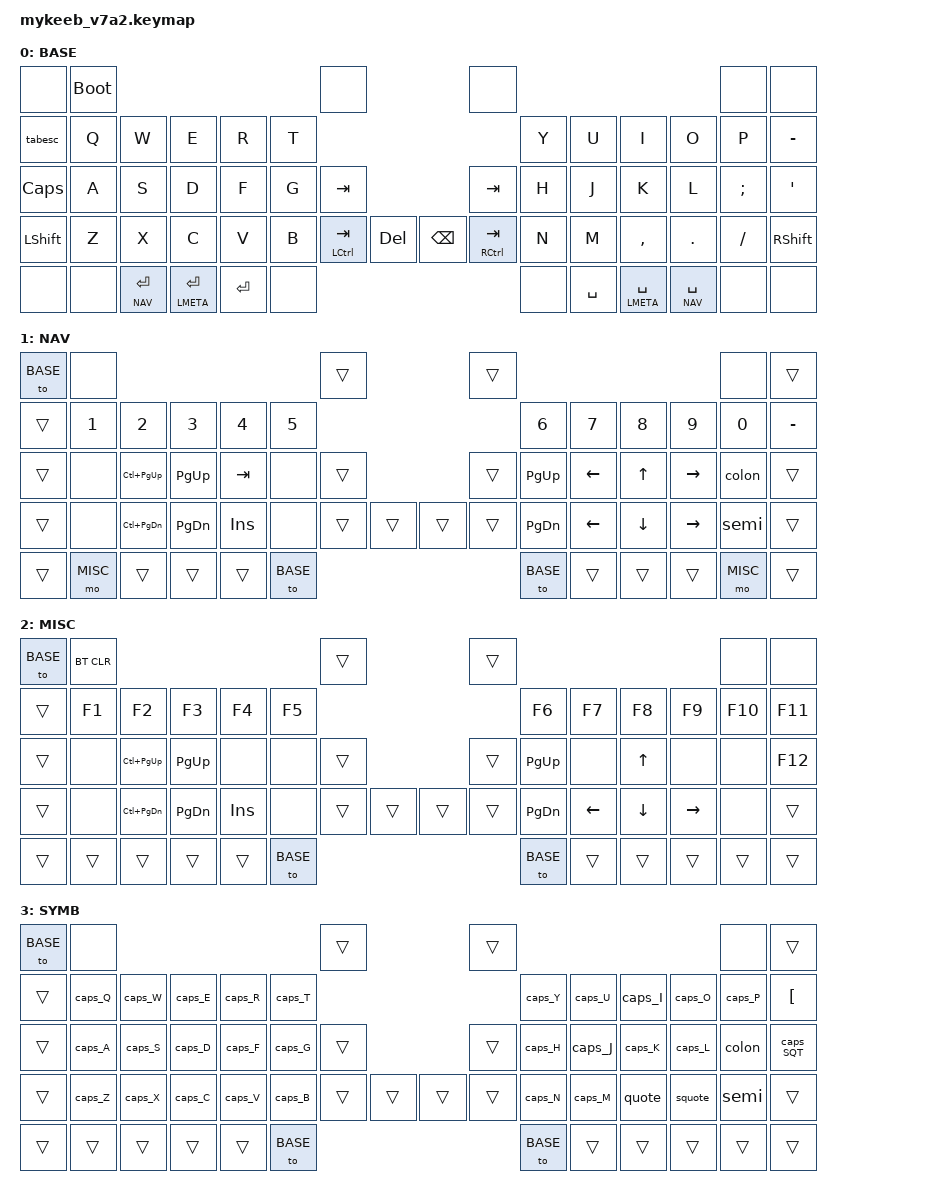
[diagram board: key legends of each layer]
#include <behaviors.dtsi>
#include <dt-bindings/zmk/keys.h>
#include <dt-bindings/zmk/bt.h>
#include <dt-bindings/zmk/outputs.h>


//┏━━━━━━━━━━━━━━━━━━━━━━━━━━━━━━━━━━━━━━━━━━━━━━━━━━━━━━━━━━━━━━━━━━━━━━━━━━━━━━┓
//┃    this is expecting NEO 2.0 layout to be configured                         ┃
//┃    - it has some 7th row keys, to allow for y and ß                          ┃
//┃    - especially the macros for special characters use caps as an modifier    ┃
//┗━━━━━━━━━━━━━━━━━━━━━━━━━━━━━━━━━━━━━━━━━━━━━━━━━━━━━━━━━━━━━━━━━━━━━━━━━━━━━━┛


//┏━━━━━━━━━━━━━━━━━━━━━━━━━━━━━━━━━━━━━━━━━━━━━━━━━━━━━━━━━━━━━━━━━━━━━━━━━━━━━━┓
//┃    defines and macros                                                        ┃
#define PTAB LC(PG_UP)
#define NTAB LC(PG_DN)

// Macro to apply momentary-layer-on-hold/toggle-layer-on-tap to a specific layer
#define MO_TOG(layer) &mo_tog layer layer

#define CAPS_MACRO(name,key) \
    name: name { \
            label = ZMK_MACRO_STRINGIFY(ZM_ ## name); \
            compatible = "zmk,behavior-macro"; \
            #binding-cells = <0>; \
            bindings = <&macro_press &kp CAPS> , <&macro_tap &kp key >  , <&macro_release &kp CAPS> ; \
        };
//┗━━━━━━━━━━━━━━━━━━━━━━━━━━━━━━━━━━━━━━━━━━━━━━━━━━━━━━━━━━━━━━━━━━━━━━━━━━━━━━┛

//┏━━━━━━━━━━━━━━━━━━━━━━━━━━━━━━━━━━━━━━━━━━━━━━━━━━━━━━━━━━━━━━━━━━━━━━━━━━━━━━┓
//┃    homerow mod stuff                                                         ┃
#define HOMEROW_OPTION 0
//┣━━━━━━━━━━━━━━━━━━━━━━━━━━━━━━━━━━━━━━━━━━━━━━━━━━━━━━━━━━━━━━━━━━━━━━━━━━━━━━┫
//┃    option 1                                                                  ┃
#if HOMEROW_OPTION == 1
#define BASE_A &lh_pht LSFT A
#define BASE_S &lh_pht LGUI S
#define BASE_D &lh_pht LALT D
#define BASE_F &lh_pht LCTL F
#define BASE_G &kp          G
#define BASE_H &kp          H
#define BASE_J &rh_pht LCTL J
#define BASE_K &rh_pht LALT K
#define BASE_L &rh_pht LGUI L
#define BASE_SEMI &rh_pht LSFT SEMI
#define HOMEROW_MACRO \
        lh_pht: left_hand_positional_hold_tap { \
            compatible = "zmk,behavior-hold-tap"; \
            label = "LEFT_POSITIONAL_HOLD_TAP"; \
            #binding-cells = <2>; \
            flavor = "tap-unless-interrupted"; \
            tapping-term-ms = <100>; \
            quick-tap-ms = <200>; \
            bindings = <&kp>, <&kp>; \
            hold-trigger-key-positions = <3 4 5 \
                                          12 13 14 15 16 17 \
                                          25 26 27 28 29 30 31 \
                                          39 40 41 42 43 44 45 \
                                          52 53 54 55 56 57 >; \
        }; \
        rh_pht: right_hand_positional_hold_tap { \
            compatible = "zmk,behavior-hold-tap"; \
            label = "RIGHT_POSITIONAL_HOLD_TAP"; \
            #binding-cells = <2>; \
            flavor = "tap-unless-interrupted"; \
            tapping-term-ms = <100>; \
            quick-tap-ms = <200>; \
            bindings = <&kp>, <&kp>; \
            hold-trigger-key-positions = <0 1 2 \
                                          6 7 8 9 10 11 \
                                          18 19 20 21 22 23 24 \
                                          32 33 34 35 36 37 38 \
                                          46 47 48 49 51>; \
        };
//┣━━━━━━━━━━━━━━━━━━━━━━━━━━━━━━━━━━━━━━━━━━━━━━━━━━━━━━━━━━━━━━━━━━━━━━━━━━━━━━┫
//┃    option 2                                                                  ┃
#elif HOMEROW_OPTION == 2
#define BASE_A    &hm LCTL A
#define BASE_S    &hm LGUI S
#define BASE_D    &hm LALT D
#define BASE_F    &hm LSHIFT F
#define BASE_G    &kp G
#define BASE_H    &kp H
#define BASE_J    &hm LSHIFT J
#define BASE_K    &hm LALT K
#define BASE_L    &hm LGUI L
#define BASE_SEMI &hm LCTL SEMI
#define HOMEROW_MACRO \
        hm: homerow_mods { \
            compatible = "zmk,behavior-hold-tap"; \
            label = "HOMEROW_MODS"; \
            #binding-cells = <2>; \
            tapping-term-ms = <150>; \
            quick-tap-ms = <0>; \
            flavor = "tap-preferred"; \
            bindings = <&kp>, <&kp>; \
        };
//┣━━━━━━━━━━━━━━━━━━━━━━━━━━━━━━━━━━━━━━━━━━━━━━━━━━━━━━━━━━━━━━━━━━━━━━━━━━━━━━┫
//┃    option 3                                                                  ┃
#elif HOMEROW_OPTION == 3
#define BASE_A    &bhm LCTL A
#define BASE_S    &bhm LGUI S
#define BASE_D    &bhm LALT D
#define BASE_F    &kp       F
#define BASE_G    &kp       G
#define BASE_H    &kp       H
#define BASE_J    &kp       J
#define BASE_K    &bhm LALT K
#define BASE_L    &bhm LGUI L
#define BASE_SEMI &bhm LCTL SEMI
#define HOMEROW_MACRO \
        bhm: balanced_homerow_mods { \
            compatible = "zmk,behavior-hold-tap"; \
            label = "HOMEROW_MODS"; \
            #binding-cells = <2>; \
            tapping-term-ms = <200>;  \
            quick-tap-ms = <0>; \
            flavor = "balanced"; \
            bindings = <&kp>, <&kp>; \
        };
//┣━━━━━━━━━━━━━━━━━━━━━━━━━━━━━━━━━━━━━━━━━━━━━━━━━━━━━━━━━━━━━━━━━━━━━━━━━━━━━━┫
//┃    option no homerow mods                                                    ┃
#else
#define BASE_A    &kp A
#define BASE_S    &kp S
#define BASE_D    &kp D
#define BASE_F    &kp F
#define BASE_G    &kp G
#define BASE_H    &kp H
#define BASE_J    &kp J
#define BASE_K    &kp K
#define BASE_L    &kp L
#define BASE_SEMI &kp SEMI
#define HOMEROW_MACRO
#endif
//┗━━━━━━━━━━━━━━━━━━━━━━━━━━━━━━━━━━━━━━━━━━━━━━━━━━━━━━━━━━━━━━━━━━━━━━━━━━━━━━┛

//┏━━━━━━━━━━━━━━━━━━━━━━━━━━━━━━━━━━━━━━━━━━━━━━━━━━━━━━━━━━━━━━━━━━━━━━━━━━━━━━┓
//┃    layers                                                                    ┃
#define BASE 0
#define NAV  1
#define MISC 2
#define SYMB 3
//┗━━━━━━━━━━━━━━━━━━━━━━━━━━━━━━━━━━━━━━━━━━━━━━━━━━━━━━━━━━━━━━━━━━━━━━━━━━━━━━┛

&sl {
    release-after-ms = <2000>;
};

/ {
    behaviors {
        // This is mod-tap with the "balanced" flavor.
        // Improves the '&mt RCTRL SPACE' behavior when typing quickly.
        bmt: balanced_mod_tap {
            compatible = "zmk,behavior-hold-tap";
            label = "MOD_TAP";
            #binding-cells = <2>;
            flavor = "balanced";
            tapping-term-ms = <200>;
            bindings = <&kp>, <&kp>;
        };
        skq: sticky_key_quick_release {
            compatible = "zmk,behavior-sticky-key";
            label = "STICKY_KEY_QUICK_RELEASE";
            #binding-cells = <1>;
            bindings = <&kp>;
            release-after-ms = <1000>;
            quick-release;
            ignore-modifiers;
        };
        mo_tog: behavior_mo_tog {
            compatible = "zmk,behavior-hold-tap";
            label = "mo_tog";
            #binding-cells = <2>;
            flavor = "hold-preferred";
            tapping-term-ms = <200>;
            bindings = <&mo>, <&tog>;
        };
        HOMEROW_MACRO
        tabesc: tab_escape {
            compatible = "zmk,behavior-mod-morph";
            label = "TAB_ESCAPE";
            #binding-cells = <0>;
            bindings = <&kp ESC>, <&kp TAB>;
            mods = <(MOD_LGUI|MOD_LSFT|MOD_RGUI|MOD_RSFT)>;
        };
    };

    macros {
        CAPS_MACRO(caps_Q, Q)
        CAPS_MACRO(caps_W, W)
        CAPS_MACRO(caps_E, E)
        CAPS_MACRO(caps_R, R)
        CAPS_MACRO(caps_T, T)
        CAPS_MACRO(caps_Y, Y)
        CAPS_MACRO(caps_U, U)
        CAPS_MACRO(caps_I, I)
        CAPS_MACRO(caps_O, O)
        CAPS_MACRO(caps_P, P)

        CAPS_MACRO(caps_A, A)
        CAPS_MACRO(caps_S, S)
        CAPS_MACRO(caps_D, D)
        CAPS_MACRO(caps_F, F)
        CAPS_MACRO(caps_G, G)
        CAPS_MACRO(caps_H, H)
        CAPS_MACRO(caps_J, J)
        CAPS_MACRO(caps_K, K)
        CAPS_MACRO(caps_L, L)
        CAPS_MACRO(colon, SEMI)
        CAPS_MACRO(caps_SQT, SQT)

        CAPS_MACRO(caps_Z, Z)
        CAPS_MACRO(caps_X, X)
        CAPS_MACRO(caps_C, C)
        CAPS_MACRO(caps_V, V)
        CAPS_MACRO(caps_B, B)
        CAPS_MACRO(caps_N, N)
        CAPS_MACRO(caps_M, M)
        CAPS_MACRO(quote, COMMA)
        CAPS_MACRO(squote, DOT)
        CAPS_MACRO(semi, FSLH)
    };

    combos {
        compatible = "zmk,combos";
// 3   // 0 1                   2     3                   4 5
// 6   //           6 7 8 9 10 11     12 13 14 15 16 17
// 7   //    18 19 20 21 22 23 24     25 26 27 28 29 30 31
// 8   // 32 33 34 35 36 37 38 39     40 41 42 43 44 45 46 47
// 1+5 // 48       49 50 51 52 53     54 55 56 57 58       59
        combo_bootloader {
            timeout-ms = <100>;
            key-positions = <6 17>;
            bindings = <&bootloader>;
        };
        combo_ret {
            timeout-ms = <40>;
            key-positions = <50 51>;
            bindings = <&kp RET>;
        };
        combo_ret_2 {
            timeout-ms = <40>;
            key-positions = <51 52>;
            bindings = <&kp RET>;
        };
        combo_spc {
            timeout-ms = <40>;
            key-positions = <56 57>;
            bindings = <&kp SPC>;
        };
        combo_spc_2 {
            timeout-ms = <40>;
            key-positions = <55 56>;
            bindings = <&kp SPC>;
        };
        combo_ss {
            timeout-ms = <300>;
            key-positions = <18 17>;
            bindings = <&kp LEFT_BRACKET>;
        };
    };

    keymap {
        compatible = "zmk,keymap";

        base_layer {
            label= "BASE";
            bindings = <
//┏━━━━━━━━━━┳━━━━━━━━━━┓                                           ┏━━━━━━━━━━┓                             ┏━━━━━━━━━━┓                                           ┏━━━━━━━━━━┳━━━━━━━━━━┓
  &none      &bootloader                                            &none                                    &none                                                  &none      &none    
//┣━━━━━━━━━━╋━━━━━━━━━━╋━━━━━━━━━━┳━━━━━━━━━━┳━━━━━━━━━━┳━━━━━━━━━━╋━━━━━━━━━━┫                             ┏━━━━━━━━━━╋━━━━━━━━━━┳━━━━━━━━━━┳━━━━━━━━━━┳━━━━━━━━━━╋━━━━━━━━━━╋━━━━━━━━━━┫
  &tabesc    &kp Q      &kp W      &kp E      &kp R      &kp T               /*┃                             ┃*/        &kp Y      &kp U      &kp I      &kp O      &kp P      &kp MINUS
  &kp CAPS   BASE_A     BASE_S     BASE_D     BASE_F     BASE_G     &kp TAB  /*┣━━━━━━━━━━┓       ┏━━━━━━━*/ &kp TAB    BASE_H     BASE_J     BASE_K     BASE_L     BASE_SEMI  &kp SQT
  &kp LSHFT  &kp Z      &kp X      &kp C      &kp V      &kp B      &bmt LCTRL TAB &kp DEL        &kp BSPC   &bmt RCTRL TAB &kp N  &kp M      &kp COMMA  &kp DOT    &kp FSLH   &kp RSHIFT
//┣━━━━━━━━━━╋━━━┳━━━━━━┻━━━━━━━┳━━┻━━━━━━━━━━┻┳━━━━━━━━━┻━━━━┳━━━━━┻━━━━━━━━┳━┻━━━━━━━━━━┻━┓   ┏━┻━━━━━━━━━━┻━┳━━━━━━━━┻━━━━━┳━━━━┻━━━━━━━━━┳┻━━━━━━━━━━┻━━┳━━━━━━━┻━━━━━━┳━━━╋━━━━━━━━━━┫
  &none          &none          &lt NAV  RET   &bmt LMETA RET &kp RET        &none              &none          &kp SPC        &bmt LMETA SPC &lt NAV  SPC   &none              &none
//┗━━━━━━━━━━┛   ┗━━━━━━━━━━━━━━┻━━━━━━━━━━━━━━┻━━━━━━━━━━━━━━┻━━━━━━━━━━━━━━┻━━━━━━━━━━━━━━┛   ┗━━━━━━━━━━━━━━┻━━━━━━━━━━━━━━┻━━━━━━━━━━━━━━┻━━━━━━━━━━━━━━┻━━━━━━━━━━━━━━┛   ┗━━━━━━━━━━┛
            >;
        };
        nav_layer {
            label= "NAV";
            bindings = <
//┏━━━━━━━━━━┳━━━━━━━━━━┓                                           ┏━━━━━━━━━━┓                             ┏━━━━━━━━━━┓                                           ┏━━━━━━━━━━┳━━━━━━━━━━┓
  &to BASE   &none                                                  &trans                                   &trans                                                 &none      &trans
//┣━━━━━━━━━━╋━━━━━━━━━━╋━━━━━━━━━━┳━━━━━━━━━━┳━━━━━━━━━━┳━━━━━━━━━━╋━━━━━━━━━━┫                             ┏━━━━━━━━━━╋━━━━━━━━━━┳━━━━━━━━━━┳━━━━━━━━━━┳━━━━━━━━━━╋━━━━━━━━━━╋━━━━━━━━━━┫
  &trans     &kp N1     &kp N2     &kp N3     &kp N4     &kp N5              /*┃                             ┃*/        &kp N6     &kp N7     &kp N8     &kp N9     &kp N0     &kp MINUS
  &trans     &none      &kp PTAB   &kp PG_UP  &kp TAB    &none      &trans   /*┣━━━━━━━━━━┓       ┏━━━━━━━*/ &trans     &kp PG_UP  &kp LEFT   &kp UP     &kp RIGHT  &colon     &trans
  &trans     &none      &kp NTAB   &kp PG_DN  &kp INS    &none      &trans     &trans             &trans     &trans     &kp PG_DN  &kp LEFT   &kp DOWN   &kp RIGHT  &semi      &trans
//┣━━━━━━━━━━╋━━━┳━━━━━━┻━━━━━━━┳━━┻━━━━━━━━━━┻┳━━━━━━━━━┻━━━━┳━━━━━┻━━━━━━━━┳━┻━━━━━━━━━━┻━┓   ┏━┻━━━━━━━━━━┻━┳━━━━━━━━┻━━━━━┳━━━━┻━━━━━━━━━┳┻━━━━━━━━━━┻━━┳━━━━━━━┻━━━━━━┳━━━╋━━━━━━━━━━┫
  &trans         &mo MISC       &trans         &trans         &trans         &to BASE           &to BASE       &trans         &trans         &trans         &mo MISC           &trans
//┗━━━━━━━━━━┛   ┗━━━━━━━━━━━━━━┻━━━━━━━━━━━━━━┻━━━━━━━━━━━━━━┻━━━━━━━━━━━━━━┻━━━━━━━━━━━━━━┛   ┗━━━━━━━━━━━━━━┻━━━━━━━━━━━━━━┻━━━━━━━━━━━━━━┻━━━━━━━━━━━━━━┻━━━━━━━━━━━━━━┛   ┗━━━━━━━━━━┛
            >;
        };
        misc_layer {
            label= "MISC";
            bindings = <
//┏━━━━━━━━━━┳━━━━━━━━━━┓                                           ┏━━━━━━━━━━┓                             ┏━━━━━━━━━━┓                                           ┏━━━━━━━━━━┳━━━━━━━━━━┓
  &to BASE   &bt BT_CLR                                             &trans                                   &trans                                                 &none      &none
//┣━━━━━━━━━━╋━━━━━━━━━━╋━━━━━━━━━━┳━━━━━━━━━━┳━━━━━━━━━━┳━━━━━━━━━━╋━━━━━━━━━━┫                             ┏━━━━━━━━━━╋━━━━━━━━━━┳━━━━━━━━━━┳━━━━━━━━━━┳━━━━━━━━━━╋━━━━━━━━━━╋━━━━━━━━━━┫
  &trans     &kp F1     &kp F2     &kp F3     &kp F4     &kp F5              /*┃                             ┃*/        &kp F6     &kp F7     &kp F8     &kp F9     &kp F10    &kp F11
  &trans     &none      &kp PTAB   &kp PG_UP  &none      &none      &trans   /*┣━━━━━━━━━━┓       ┏━━━━━━━*/ &trans     &kp PG_UP  &none      &kp UP     &none      &none      &kp F12
  &trans     &none      &kp NTAB   &kp PG_DN  &kp INS    &none      &trans     &trans             &trans     &trans     &kp PG_DN  &kp LEFT   &kp DOWN   &kp RIGHT  &none      &trans
//┣━━━━━━━━━━╋━━━┳━━━━━━┻━━━━━━━┳━━┻━━━━━━━━━━┻┳━━━━━━━━━┻━━━━┳━━━━━┻━━━━━━━━┳━┻━━━━━━━━━━┻━┓   ┏━┻━━━━━━━━━━┻━┳━━━━━━━━┻━━━━━┳━━━━┻━━━━━━━━━┳┻━━━━━━━━━━┻━━┳━━━━━━━┻━━━━━━┳━━━╋━━━━━━━━━━┫
  &trans         &trans         &trans         &trans         &trans         &to BASE           &to BASE       &trans         &trans         &trans         &trans             &trans
//┗━━━━━━━━━━┛   ┗━━━━━━━━━━━━━━┻━━━━━━━━━━━━━━┻━━━━━━━━━━━━━━┻━━━━━━━━━━━━━━┻━━━━━━━━━━━━━━┛   ┗━━━━━━━━━━━━━━┻━━━━━━━━━━━━━━┻━━━━━━━━━━━━━━┻━━━━━━━━━━━━━━┻━━━━━━━━━━━━━━┛   ┗━━━━━━━━━━┛
            >;
        };
        symb_layer {
            label= "SYMB";
            bindings = <
//┏━━━━━━━━━━┳━━━━━━━━━━┓                                           ┏━━━━━━━━━━┓                             ┏━━━━━━━━━━┓                                           ┏━━━━━━━━━━┳━━━━━━━━━━┓
  &to BASE   &none                                                  &trans                                   &trans                                                 &none      &trans
//┣━━━━━━━━━━╋━━━━━━━━━━╋━━━━━━━━━━┳━━━━━━━━━━┳━━━━━━━━━━┳━━━━━━━━━━╋━━━━━━━━━━┫                             ┏━━━━━━━━━━╋━━━━━━━━━━┳━━━━━━━━━━┳━━━━━━━━━━┳━━━━━━━━━━╋━━━━━━━━━━╋━━━━━━━━━━┫
  &trans     &caps_Q    &caps_W    &caps_E    &caps_R    &caps_T             /*┃                             ┃*/        &caps_Y    &caps_U    &caps_I    &caps_O    &caps_P    &kp LEFT_BRACKET
  &trans     &caps_A    &caps_S    &caps_D    &caps_F    &caps_G    &trans   /*┣━━━━━━━━━━┓       ┏━━━━━━━*/ &trans     &caps_H    &caps_J    &caps_K    &caps_L    &colon     &caps_SQT
  &trans     &caps_Z    &caps_X    &caps_C    &caps_V    &caps_B    &trans     &trans            &trans      &trans     &caps_N    &caps_M    &quote     &squote    &semi      &trans
//┣━━━━━━━━━━╋━━━┳━━━━━━┻━━━━━━━┳━━┻━━━━━━━━━━┻┳━━━━━━━━━┻━━━━┳━━━━━┻━━━━━━━━┳━┻━━━━━━━━━━┻━┓   ┏━┻━━━━━━━━━━┻━┳━━━━━━━━┻━━━━━┳━━━━┻━━━━━━━━━┳┻━━━━━━━━━━┻━━┳━━━━━━━┻━━━━━━┳━━━╋━━━━━━━━━━┫
  &trans         &trans         &trans         &trans         &trans         &to BASE           &to BASE       &trans         &trans         &trans         &trans             &trans
//┗━━━━━━━━━━┛   ┗━━━━━━━━━━━━━━┻━━━━━━━━━━━━━━┻━━━━━━━━━━━━━━┻━━━━━━━━━━━━━━┻━━━━━━━━━━━━━━┛   ┗━━━━━━━━━━━━━━┻━━━━━━━━━━━━━━┻━━━━━━━━━━━━━━┻━━━━━━━━━━━━━━┻━━━━━━━━━━━━━━┛   ┗━━━━━━━━━━┛
            >;
        };
    };
};
